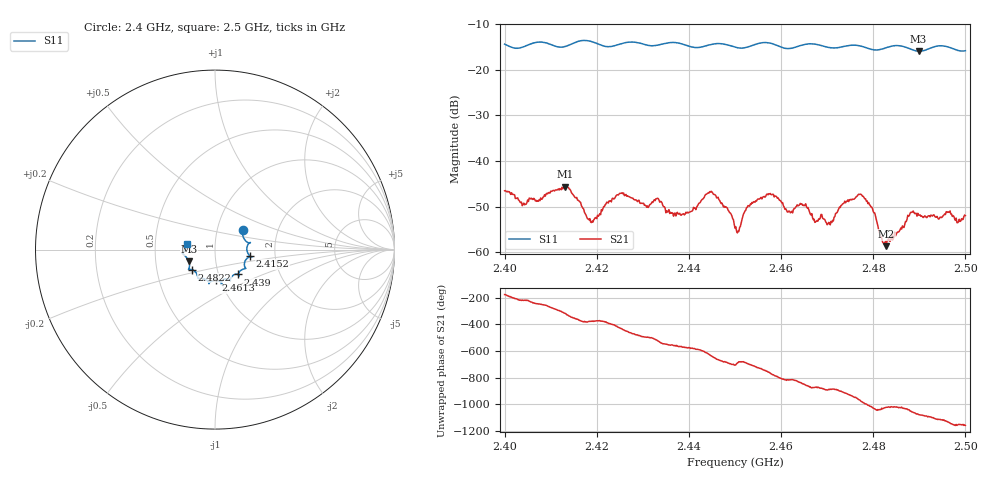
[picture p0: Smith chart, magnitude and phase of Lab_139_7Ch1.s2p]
# Hz S RI R 50
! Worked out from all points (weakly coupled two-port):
!   601 points, 2.4 GHz to 2.5 GHz, reference 50 ohm
!   highest |S21| = -45.61 dB at 2.4132 GHz (marker M1); lowest = -58.7 dB at 2.4828 GHz (marker M2)
!   lowest |S11| = -15.9 dB at 2.4898 GHz (marker M3), VSWR 1.38, Z = 37 - j5.02 ohm
!   |S11| at or under -10 dB: start of sweep to end of sweep
!   S12 and S22 are empty: the file has one direction only
!   S11 on the Smith chart (normalised r, x): 2.4 GHz: 1.33, +0.31; 2.4152 GHz: 1.48, -0.11; 2.439 GHz: 1.24, -0.35; 2.4613 GHz: 0.96, -0.34; 2.4822 GHz: 0.76, -0.17; 2.5 GHz: 0.73, +0.05
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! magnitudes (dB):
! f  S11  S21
! 2.4 GHz  -14.4  -46.5
! 2.4043 GHz  -14.9  -49.6
! 2.4132 GHz  -14.9  -45.6
! 2.4152 GHz  -14.1  -47.8
! 2.4167 GHz  -13.6  -49.8
! 2.4188 GHz  -13.8  -53.5
! 2.425 GHz  -14.4  -47.1
! 2.4333 GHz  -14.6  -48.2
! 2.439 GHz  -14.5  -51.8
! 2.4447 GHz  -14.5  -46.8
! 2.45 GHz  -15.0  -54.7
! 2.4573 GHz  -14.1  -47.2
! 2.4613 GHz  -15.3  -51.2
! 2.4667 GHz  -14.3  -51.5
! 2.4705 GHz  -15.1  -53.5
! 2.4773 GHz  -14.8  -47.3
! 2.48 GHz  -15.6  -51.1
! 2.4822 GHz  -15.4  -58.0
! 2.4828 GHz  -15.2  -58.7
! 2.4833 GHz  -15.0  -57.0
! 2.4898 GHz  -15.9  -51.8
! 2.5 GHz  -15.8  -52.0
